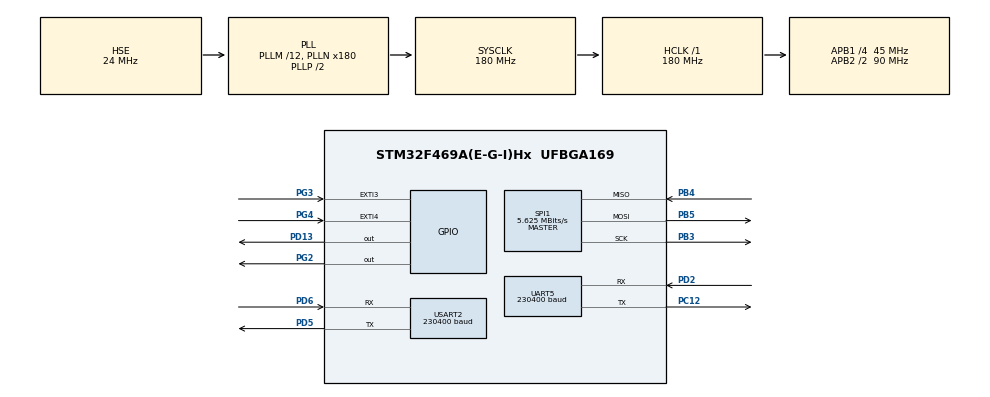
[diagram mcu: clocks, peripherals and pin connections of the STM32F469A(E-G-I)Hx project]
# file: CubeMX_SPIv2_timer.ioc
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Dma.Request0=USART2_RX
Dma.USART2_RX.0.Direction=DMA_PERIPH_TO_MEMORY
Dma.USART2_RX.0.FIFOMode=DMA_FIFOMODE_DISABLE
Dma.USART2_RX.0.Instance=DMA1_Stream5
Dma.USART2_RX.0.MemDataAlignment=DMA_MDATAALIGN_BYTE
Dma.USART2_RX.0.MemInc=DMA_MINC_ENABLE
Dma.USART2_RX.0.Mode=DMA_CIRCULAR
Dma.USART2_RX.0.PeriphDataAlignment=DMA_PDATAALIGN_BYTE
Dma.USART2_RX.0.PeriphInc=DMA_PINC_DISABLE
Dma.USART2_RX.0.Priority=DMA_PRIORITY_LOW
Mcu.Family=STM32F4
Mcu.Name=STM32F469A(E-G-I)Hx
Mcu.Package=UFBGA169
NVIC.DMA1_Stream5_IRQn=true\:0\:0\:false\:false\:true\:false\:true\:true
NVIC.EXTI3_IRQn=true\:0\:0\:false\:false\:true\:true\:true\:true
NVIC.EXTI4_IRQn=true\:0\:0\:false\:false\:true\:true\:true\:true
NVIC.PriorityGroup=NVIC_PRIORITYGROUP_4
NVIC.TIM2_IRQn=true\:0\:0\:false\:false\:true\:true\:true\:true
NVIC.USART2_IRQn=true\:0\:0\:false\:false\:true\:true\:true\:true
PA13.Mode=Serial_Wire
PA13.Signal=SYS_JTMS-SWDIO
PA14.Mode=Serial_Wire
PA14.Signal=SYS_JTCK-SWCLK
PB3.Mode=Full_Duplex_Master
PB3.Signal=SPI1_SCK
PB4.Mode=Full_Duplex_Master
PB4.Signal=SPI1_MISO
PB5.Mode=Full_Duplex_Master
PB5.Signal=SPI1_MOSI
PC12.Mode=Asynchronous
PC12.Signal=UART5_TX
PC14/OSC32_IN.Mode=LSE-External-Oscillator
PC14/OSC32_IN.Signal=RCC_OSC32_IN
PC15/OSC32_OUT.Mode=LSE-External-Oscillator
PC15/OSC32_OUT.Signal=RCC_OSC32_OUT
PD13.Signal=GPIO_Output
PD2.Mode=Asynchronous
PD2.Signal=UART5_RX
PD5.Mode=Asynchronous
PD5.Signal=USART2_TX
PD6.Mode=Asynchronous
PD6.Signal=USART2_RX
PG2.PinState=GPIO_PIN_SET
PG2.Signal=GPIO_Output
PG3.Signal=GPXTI3
PG4.Signal=GPXTI4
PH0/OSC_IN.Mode=HSE-External-Oscillator
PH0/OSC_IN.Signal=RCC_OSC_IN
PH1/OSC_OUT.Mode=HSE-External-Oscillator
PH1/OSC_OUT.Signal=RCC_OSC_OUT
ProjectManager.HeapSize=0x200
ProjectManager.StackSize=0x1000
ProjectManager.TargetToolchain=STM32CubeIDE
RCC.AHBFreq_Value=180000000
RCC.APB1CLKDivider=RCC_HCLK_DIV4
RCC.APB1Freq_Value=45000000
RCC.APB1TimFreq_Value=90000000
RCC.APB2CLKDivider=RCC_HCLK_DIV2
RCC.APB2Freq_Value=90000000
RCC.APB2TimFreq_Value=180000000
RCC.CortexFreq_Value=180000000
RCC.HCLKFreq_Value=180000000
RCC.HSE_VALUE=24000000
RCC.PLLM=12
RCC.PLLN=180
RCC.PLLSourceVirtual=RCC_PLLSOURCE_HSE
RCC.SYSCLKFreq_VALUE=180000000
RCC.SYSCLKSource=RCC_SYSCLKSOURCE_PLLCLK
RCC.USBFreq_Value=90000000
RCC.VCOOutputFreq_Value=360000000
SPI1.BaudRatePrescaler=SPI_BAUDRATEPRESCALER_16
SPI1.CalculateBaudRate=5.625 MBits/s
SPI1.Direction=SPI_DIRECTION_2LINES
SPI1.Mode=SPI_MODE_MASTER
SPI1.VirtualType=VM_MASTER
STMicroelectronics.X-CUBE-AI.6.0.0.ActivationBufferSizeList=236
STMicroelectronics.X-CUBE-AI.6.0.0.HeapSize=0x200
STMicroelectronics.X-CUBE-AI.6.0.0.InternalRamActivationBufferMaxSize=AI_NETWORK_DATA_ACTIVATIONS_SIZE
STMicroelectronics.X-CUBE-AI.6.0.0.LatestDirectoryUsed-4ceb5bedb8e4060084cdc51f1587b4875811ca90b4fdf86550945789fb7fff70=C\:\\Users\\giaco\\Downloads
STMicroelectronics.X-CUBE-AI.6.0.0.MaximumNumberOfInputLayer=1
STMicroelectronics.X-CUBE-AI.6.0.0.MaximumNumberOfOutputLayer=1
STMicroelectronics.X-CUBE-AI.6.0.0.MaximumSizeOfInputLayer=AI_NETWORK_IN_1_SIZE_BYTES
STMicroelectronics.X-CUBE-AI.6.0.0.MaximumSizeOfOutputLayer=AI_NETWORK_OUT_1_SIZE_BYTES
STMicroelectronics.X-CUBE-AI.6.0.0.ModelActualCompression-4ceb5bedb8e4060084cdc51f1587b4875811ca90b4fdf86550945789fb7fff70=0.0
STMicroelectronics.X-CUBE-AI.6.0.0.ModelCompression-4ceb5bedb8e4060084cdc51f1587b4875811ca90b4fdf86550945789fb7fff70=1
STMicroelectronics.X-CUBE-AI.6.0.0.ModelFlashOccupation-4ceb5bedb8e4060084cdc51f1587b4875811ca90b4fdf86550945789fb7fff70=6212
STMicroelectronics.X-CUBE-AI.6.0.0.ModelHashList=4ceb5bedb8e4060084cdc51f1587b4875811ca90b4fdf86550945789fb7fff70
STMicroelectronics.X-CUBE-AI.6.0.0.ModelKind-4ceb5bedb8e4060084cdc51f1587b4875811ca90b4fdf86550945789fb7fff70=TFLITE
STMicroelectronics.X-CUBE-AI.6.0.0.ModelMacc-4ceb5bedb8e4060084cdc51f1587b4875811ca90b4fdf86550945789fb7fff70=1673
STMicroelectronics.X-CUBE-AI.6.0.0.ModelName-4ceb5bedb8e4060084cdc51f1587b4875811ca90b4fdf86550945789fb7fff70=network
STMicroelectronics.X-CUBE-AI.6.0.0.ModelNameList=network
STMicroelectronics.X-CUBE-AI.6.0.0.ModelRamOccupation-4ceb5bedb8e4060084cdc51f1587b4875811ca90b4fdf86550945789fb7fff70=236
STMicroelectronics.X-CUBE-AI.6.0.0.ModelStructureFile-4ceb5bedb8e4060084cdc51f1587b4875811ca90b4fdf86550945789fb7fff70=C\:\\Users\\giaco\\Downloads\\my_model.tflite
STMicroelectronics.X-CUBE-AI.6.0.0.ModelType-4ceb5bedb8e4060084cdc51f1587b4875811ca90b4fdf86550945789fb7fff70=Saved model
STMicroelectronics.X-CUBE-AI.6.0.0.StackSize=0x1000
STMicroelectronics.X-CUBE-AI.6.0.0.WorkingBufferStartAddrList=0xFFFFFFFF
STMicroelectronics.X-CUBE-AI.6.0.0.XAaCUBEAaAICcArtificialOoIntelligenceJjCore=true
STMicroelectronics.X-CUBE-ALGOBUILD.1.3.0.LibraryCcDSPOoLibraryJjDSPOoLibrary=true
TIM2.Period=9000-1
TIM2.Prescaler=0
UART5.BaudRate=230400
UART5.VirtualMode=Asynchronous
USART2.BaudRate=230400
USART2.Parity=PARITY_NONE
USART2.VirtualMode=VM_ASYNC
VP_CRC_VS_CRC.Mode=CRC_Activate
VP_STMicroelectronics.X-CUBE-AI_VS_ArtificialOoIntelligenceJjXAaCUBEAaAI_6.0.0.Mode=ArtificialOoIntelligenceJjXAaCUBEAaAI
VP_STMicroelectronics.X-CUBE-ALGOBUILD_VS_DSPOoLibraryJjLibrary_1.3.0_1.3.0.Mode=DSPOoLibraryJjLibrary
VP_TIM2_VS_ClockSourceINT.Mode=Internal
board=custom

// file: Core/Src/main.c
/* USER CODE BEGIN Header */
/**
  ******************************************************************************
  * @file           : main.c
  * @brief          : Main program body
  ******************************************************************************
  * @attention
  *
  * Copyright (c) 2022 STMicroelectronics.
  * All rights reserved.
  *
  * This software is licensed under terms that can be found in the LICENSE file
  * in the root directory of this software component.
  * If no LICENSE file comes with this software, it is provided AS-IS.
  *
  ******************************************************************************
  */

/* USER CODE END Header */

#define ARM_MATH_CM4
#include "main.h"
#include "crc.h"
#include "dma.h"
#include "spi.h"
#include "tim.h"
#include "usart.h"
#include "gpio.h"
#include "arm_math.h"
#include "network.h"
#include "network_data.h"
#include "ai_datatypes_defines.h"

/* USER CODE BEGIN PD */

#define DIM 5000			//Aumento la scalabilità del codice utilizzando questa macro
#define N 5

/* USER CODE END PD */

/* USER CODE BEGIN PV */

uint16_t buffer[50]={0};	//Buffer usato per UART5
uint16_t buffer2[300];		//Buffer usato per UART5

//Ho creato una funzione che mi semplifica la scrittura sulla COM di messaggi
void uprintf(char* str){
	HAL_UART_Transmit(&huart5, (uint8_t*)str, strlen(str), 100);
}

//Funzioni di stampa
void printAmpFreq(float32_t a[N],float32_t b[N],float32_t c[N],float32_t d[N],float32_t e[N],float32_t f[N]){

	for(int j=0;j<N;j++){
			   for(int k=0;k<6;k++){
			   		   if(k==0){
			   		   sprintf(buffer2,"%f",a[j]);
			   		   uprintf(buffer2);
			   		   }
			   		   else if(k==1){
			   		   sprintf(buffer2,"%f",b[j]);
			   		   uprintf(buffer2);
			   		   }
			   		   else if(k==2){
			   		   sprintf(buffer2,"%f",c[j]);
			   		   uprintf(buffer2);
			   		   }
			   		   else if(k==3){
	     	           sprintf(buffer2,"%f",d[j]);
	     	           uprintf(buffer2);
			   		   }
			   		   else if(k==4){
			   		   sprintf(buffer2,"%f",e[j]);
			   		   uprintf(buffer2);
			   		   }
			   		   else if(k==5){
			   		   sprintf(buffer2,"%f",f[j]);
			   		   uprintf(buffer2);
			   		   }
			   		   if(k!=5){
			   		   sprintf(buffer2,"\t");
			   		   uprintf(buffer2);
			   		   }
			   	   }
			   	   sprintf(buffer2,"\n \r");
			   	   uprintf(buffer2);
			      }

}
void printAcc(float a[DIM],float b[DIM],float c[DIM]){

	for(int j=0;j<DIM;j++){
		   for(int k=0;k<3;k++){
			   if(k==0){
			   sprintf(buffer2,"%f",a[j]);
			   uprintf(buffer2);
			   }
			   else if(k==1){
			   sprintf(buffer2,"%f",b[j]);
			   uprintf(buffer2);
			   }
			   else if(k==2){
			   sprintf(buffer2,"%f",c[j]);
			   uprintf(buffer2);
			   }
			   sprintf(buffer2,"\t");
			   uprintf(buffer2);
		   }
		   sprintf(buffer2,"\n \r");
		   uprintf(buffer2);
	   }
	   }

const int SAMPLES = 8192;
const int FFT_SIZE = 4096;
const float Fs = 5000;
const float passo_f = (Fs/2)/(FFT_SIZE/2);
float32_t fft_in_buf[8192]; //Buffer di input della FFT
float32_t fft_out_buf[4096]; //Vettore di output della FFT
float32_t temp[2048];  //Vettori e variabili usate per trovare i valori massimi
float32_t valMassimiX[N];
float32_t valMassimiY[N];
float32_t valMassimiZ[N];
float32_t indX[N];
float32_t indY[N];
float32_t indZ[N];
float32_t massimo;
float32_t matriceInput[N][6];
int indmax;
uint8_t spiSndX[1];			//Buffer di trasmissione X MSB
uint8_t spiSndY[1];			//Buffer di trasmissione Y MSB
uint8_t spiSndZ[1];			//Buffer di trasmissione Z MSB
uint8_t spiSndXLSB[1];		//Buffer di trasmissione X LSB
uint8_t spiSndYLSB[1];		//Buffer di trasmissione Y LSB
uint8_t spiSndZLSB[1];		//Buffer di trasmissione Z LSB
uint8_t spiRcv[2];			//Buffer di ricezione LSB
uint8_t spiRcvMSB[2];		//Buffer di ricezione MSB
uint8_t spiSnd[2];			//Buffer invio comandi SPI
uint8_t a;					//Variabile di appoggio usata per snprintf (si può eliminare se non la si usa)
float Vettx[DIM];			//Vettore float (con virgola) della misura Accelerazione Asse X
float Vetty[DIM];			//Vettore float (con virgola) della misura Accelerazione Asse Y
float Vettz[DIM];			//Vettore float (con virgola) della misura Accelerazione Asse Z
volatile uint8_t flag_elapsed = 0;	//Flag proveniente dall'interrupt function del timer (si alza dopo i 2250-1 conteggi settati)

/* USER CODE END PV */

void SystemClock_Config(void);

int main(void)
{
  /* USER CODE BEGIN 1 */
	spiSndX[0]=0x29|0x80;			//Indirizzo Lettura X MSB
    spiSndY[0]=0x2B|0x80;			//Indirizzo Lettura Y MSB
	spiSndZ[0]=0x2D|0x80;			//Indirizzo Lettura Z MSB
	spiSndXLSB[0]=0x28|0x80;		//Indirizzo Lettura X LSB
	spiSndYLSB[0]=0x2A|0x80;		//Indirizzo Lettura Y LSB
	spiSndZLSB[0]=0x2C|0x80;		//Indirizzo Lettura Z LSB
	uint16_t x[DIM];				//Vettore intero 16bit misura Accelerazione Asse X
	uint16_t y[DIM];				//Vettore intero 16bit misura Accelerazione Asse Y
	uint16_t z[DIM];				//Vettore intero 16bit misura Accelerazione Asse Z
	int16_t k=0;					//Variabile usata per il casting
	float acc;						//Accelerazione istantanea ad asse
	float typ=0.244;
	int i=0;						//Variabile di appoggio while
  /* USER CODE END 1 */

  /* MCU Configuration--------------------------------------------------------*/

  /* Reset of all peripherals, Initializes the Flash interface and the Systick. */
  HAL_Init();

  /* Configure the system clock */
  SystemClock_Config();

  /* Initialize all configured peripherals */
  MX_GPIO_Init();
  MX_DMA_Init();
  MX_SPI1_Init();
  MX_USART2_UART_Init();
  MX_UART5_Init();
  MX_TIM2_Init();
  MX_CRC_Init();
  /* USER CODE BEGIN 2 */
    HAL_UART_MspInit(&huart5);			//Inizializzo UART5

    //Messaggio di Boot COM
    //uprintf("/******  Misuratore Assiale di Accelerazione  ******/ \n \r");
    //uprintf("/****   Programma Realizzato da Salvatore Granata    ****/ \n \r");
    //uprintf("/****   Ingegneria dell'Automazione   ****/ \n \r");
    //uprintf("Sensore Avviato e pronto per misure \n \r");

   /*1. Abilito lo slave portando la linea CS/SS Bassa*/
    HAL_GPIO_WritePin(GPIOG, GPIO_PIN_2, GPIO_PIN_RESET);	   /*1. Abilita lo Slave settando CS Basso lo stato dell'IIS3DWB */

   /*2. Trasmetto indirizzo registro e dati */
    spiSnd[0]=0x10;												//Indirizzo Registro CTRL1_XL (Abilita l'accelerometro)
    spiSnd[1]=0xAC;												//Scrivo 101 all'inizio del registro per abilitarlo e poi tutti zero (accelerometro scala +-2g)
    HAL_SPI_Transmit(&hspi1, spiSnd, 2, 100);					//Invio messaggio allo slave per effettuare l'abilitazione abilitazione

   /*3. Disabilito lo slave portando la linea CS/SS Alta*/		//Inviata l'istruzione di abilitazione dell'accelerometro,
    HAL_GPIO_WritePin(GPIOG, GPIO_PIN_2, GPIO_PIN_SET);			//Chiudo la comunicazione

    HAL_TIM_Base_Start(&htim2);									//Faccio partire il timer
  /* USER CODE END 2 */

  /* Infinite loop */
  /* USER CODE BEGIN WHILE */

  while (i<DIM)
  {
	 if((flag_elapsed)=1)											//La funzione di interrupt abilita il flag per ogni n conteggi selezionati
	 {
		 flag_elapsed=0;										//flag=0 in modo che non rientro ma aspetto che sia l'interrupt ad alzarlo

		//Asse X
		HAL_GPIO_WritePin(GPIOG, GPIO_PIN_2, GPIO_PIN_RESET);	//Abilito SPI1
		HAL_SPI_Transmit(&hspi1, spiSndX, 1, 100);				//Trasmetto Indirizzo dove leggere istruzione
		HAL_SPI_Receive(&hspi1, &spiRcv[0], 1, 100);			//Ricevo Risultato di misura MSB (8bit)
		HAL_GPIO_WritePin(GPIOG, GPIO_PIN_2, GPIO_PIN_SET);		//Chiudo la comunicazione SPI1
		HAL_GPIO_WritePin(GPIOG, GPIO_PIN_2, GPIO_PIN_RESET);	//Abilito la comunicazione SPI1 (NON POSSO FARE PIU OPERAZIONI CON UN'UNICA ATTIVAZIONE)
		HAL_SPI_Transmit(&hspi1, spiSndXLSB, 1, 100);			//Trasmetto Indirizzo dove leggere istruzione
		HAL_SPI_Receive(&hspi1, &spiRcv[1], 1, 100);			//Ricevo Risultato di misura LSB (8bit)
		x[i]=((int16_t)spiRcv[0] << 8) | spiRcv[1];				//Unisco MSB e LSB attraverso un'operazione di shift su 16bit
		HAL_GPIO_WritePin(GPIOG, GPIO_PIN_2, GPIO_PIN_SET);		//Chiudo la comunicazione SPI1
		k=(int16_t)x[i];										//Casting da uint a int (abilitazione del segno, complemento)
		acc=(k*typ)/1000;										//Da datasheet, il dato letto, lo converto in scala g attraverso questo calcolo
		Vettx[i]=acc;											//Aggiungo la misura al vettore delle letture
		//HAL_UART_Transmit(&huart5,(uint8_t*)"\n \r", 3, HAL_MAX_DELAY);			//Vado da capo

		spiRcv[0]=0;
		spiRcv[1]=0;
		//Asse Y
		HAL_GPIO_WritePin(GPIOG, GPIO_PIN_2, GPIO_PIN_RESET);	//Abilito SPI1
		HAL_SPI_Transmit(&hspi1, spiSndY, 1, 100);				//Trasmetto Indirizzo dove leggere istruzione
		HAL_SPI_Receive(&hspi1, &spiRcv[0], 1, 100);			//Ricevo Risultato di misura MSB (8bit)
		HAL_GPIO_WritePin(GPIOG, GPIO_PIN_2, GPIO_PIN_SET);		//Chiudo la comunicazione SPI1
		HAL_GPIO_WritePin(GPIOG, GPIO_PIN_2, GPIO_PIN_RESET);	//Abilito la comunicazione SPI1 (NON POSSO FARE PIU OPERAZIONI CON UN'UNICA ATTIVAZIONE)
		HAL_SPI_Transmit(&hspi1, spiSndYLSB, 1, 100);			//Trasmetto Indirizzo dove leggere istruzione
		HAL_SPI_Receive(&hspi1, &spiRcv[1], 1, 100);			//Ricevo Risultato di misura LSB (8bit)
		y[i]=((int16_t)spiRcv[0] << 8) | spiRcv[1];				//Unisco MSB e LSB attraverso un'operazione di shift su 16bit
		HAL_GPIO_WritePin(GPIOG, GPIO_PIN_2, GPIO_PIN_SET);		//Chiudo la comunicazione SPI1
		k=(int16_t)y[i];										//Casting da uint a int (abilitazione del segno, complemento)
		acc=(k*typ)/1000;										//Da datasheet, il dato letto, lo converto in scala g attraverso questo calcolo
		Vetty[i]=acc;											//Aggiungo la misura al vettore delle letture
		//HAL_UART_Transmit(&huart5,(uint8_t*)"\n \r", 3, HAL_MAX_DELAY);			//Vado da capo

		spiRcv[0]=0;
		spiRcv[1]=0;
		//Asse Z												//Si ripetono gli stessi commenti
		HAL_GPIO_WritePin(GPIOG, GPIO_PIN_2, GPIO_PIN_RESET);
		HAL_SPI_Transmit(&hspi1, spiSndZ, 1, 100);
		HAL_SPI_Receive(&hspi1, &spiRcv[0], 1, 100);
		HAL_GPIO_WritePin(GPIOG, GPIO_PIN_2, GPIO_PIN_SET);
		HAL_GPIO_WritePin(GPIOG, GPIO_PIN_2, GPIO_PIN_RESET);
		HAL_SPI_Transmit(&hspi1, spiSndZLSB, 1, 100);
		HAL_SPI_Receive(&hspi1, &spiRcv[1], 1, 100);
		z[i]=((int16_t)spiRcv[0] << 8) | spiRcv[1];
		HAL_GPIO_WritePin(GPIOG, GPIO_PIN_2, GPIO_PIN_SET);
		k=(int16_t)z[i];
		acc=(k*typ)/1000;
		Vettz[i]=acc;
		//HAL_UART_Transmit(&huart5,(uint8_t*)"\n \r", 3, HAL_MAX_DELAY);			//Vado da capo

	    i=i+1;															//Incremento la i per spostare le misure nel buffer
	  }
  }
    /* USER CODE END WHILE */

    /* USER CODE BEGIN 3 */
   HAL_TIM_Base_Stop(&htim2);											//Completate le n=DIM misure, fermo il timer
   HAL_UART_Transmit(&huart5,(uint8_t*)"\n \r", 3, HAL_MAX_DELAY);		//Trasmetto uno spazio per ordine
   i=0;

   //Stampo le misure di accelerazione
   //printAcc(Vettx,Vetty,Vettz);

   //Eseguo la FFT

   arm_cfft_radix2_instance_f32 S;
   /* Inizializzo il modulo CFFT/CIFFT, intFlag = 0, doBitReverse = 1 */
   arm_cfft_radix2_init_f32(&S, FFT_SIZE, 0, 1);

   //Asse X
   for(int j=0;j<SAMPLES;j+=2){
	   fft_in_buf[j] = ((float32_t)((float32_t)Vettx[j/2]));
	   fft_in_buf[j+1] = 0;
   }
   /*Processo i dati attraverso il modulo CFFT/CIFFT */
   arm_cfft_radix2_f32(&S, fft_in_buf);
   /*Processo i dati attraverso il modulo Complex Magnitude*/
   arm_cmplx_mag_f32(fft_in_buf, fft_out_buf, FFT_SIZE);

   //Prendo le N componenti frequenziali ad ampiezza maggiore dello spettro di X

      for(int j = 0; j<((FFT_SIZE/2));j++){
          temp[j] = (float32_t)fft_out_buf[j+1];
        }
      for(int j=0; j<N;j++){
   	   arm_max_f32(temp, FFT_SIZE/2, &massimo, &indmax);
   	   valMassimiX[j] = 2*massimo;
   	   indX[j] = (float)(indmax)*passo_f;
   	   temp[indmax] = 0;
     }

   //Asse Y
   for(int j=0;j<SAMPLES;j+=2){
  	   fft_in_buf[j] = ((float32_t)((float32_t)Vetty[j/2]));
  	   fft_in_buf[j+1] = 0;
     }
   /*Processo i dati attraverso il modulo CFFT/CIFFT */
   arm_cfft_radix2_f32(&S, fft_in_buf);
   /* Processo i dati attraverso il modulo Complex Magnitude*/
   arm_cmplx_mag_f32(fft_in_buf, fft_out_buf, FFT_SIZE);

   //Prendo le N componenti frequenziali ad ampiezza maggiore dello spettro di Y

      for(int j = 0; j<((FFT_SIZE/2));j++){
          temp[j] = (float32_t)fft_out_buf[j+1];
        }
         for(int j=0; j<N;j++){
      	   arm_max_f32(temp, FFT_SIZE/2, &massimo, &indmax);
      	   valMassimiY[j] = 2*massimo;
      	   indY[j] = (float)(indmax*passo_f);
      	   temp[indmax] = 0;
        }

   //Asse Z
   for(int j=0;j<SAMPLES;j+=2){
       fft_in_buf[j] = ((float32_t)((float32_t)Vettz[j/2]));
       fft_in_buf[j+1] = 0;
     }
   /*Processo i dati attraverso il modulo CFFT/CIFFT */
   arm_cfft_radix2_f32(&S, fft_in_buf);
   /* Processo i dati attraverso il modulo Complex Magnitude*/
   arm_cmplx_mag_f32(fft_in_buf, fft_out_buf, FFT_SIZE);

   //Prendo le N componenti frequenziali ad ampiezza maggiore dello spettro di Z

   for(int j = 0; j<((FFT_SIZE/2));j++){
       temp[j] = (float32_t)fft_out_buf[j+1];
     }
      for(int j=0; j<N;j++){
   	   arm_max_f32(temp, FFT_SIZE/2, &massimo, &indmax);
   	   valMassimiZ[j] = 2*massimo;
   	   indZ[j] = (float)(indmax*passo_f);
   	   temp[indmax] = 0;
     }

   //Stampo le coppie ampiezza-frequenza sui 3 assi

    printAmpFreq(valMassimiX,indX,valMassimiY,indY,valMassimiZ,indZ);

    //Preparo la matrice con gli input da dare al mio NN(riempio la matrice per colonne)

    //Preparo la matrice con gli input da dare al mio NN(riempio la matrice per colonne)

      for(int j=0;j<AI_NETWORK_IN_1_SIZE;j++){

    	  for(int k=0;k<N;k++){

    		  if(j==0)
    			  matriceInput[k][j] = (float32_t)valMassimiX[k];
    		  if(j==1)
    			  matriceInput[k][j] = (float32_t)indX[k];
    		  if(j==2)
    			  matriceInput[k][j] = (float32_t)valMassimiY[k];
    		  if(j==3)
    			  matriceInput[k][j] = (float32_t)indY[k];
    		  if(j==4)
    			  matriceInput[k][j] = (float32_t)valMassimiZ[k];
    		  if(j==5)
    			  matriceInput[k][j] = (float32_t)indZ[k];
    	  }
      }

      // Chunk of memory used to hold intermediate values for neural network

        	AI_ALIGNED(4) ai_u8 activations[AI_NETWORK_DATA_ACTIVATIONS_SIZE];
          ai_i32 inferenza;

        // Buffer per memorizzare i tensori di input e di output

        	AI_ALIGNED(4) ai_i8 in_data[AI_NETWORK_IN_1_SIZE_BYTES];
          AI_ALIGNED(4) ai_i8 out_data[AI_NETWORK_OUT_1_SIZE_BYTES];

          //Puntatore al modello

          ai_handle network = AI_HANDLE_NULL;

          //Inizializzo le struct che conterranno i puntatori ai dati

              ai_buffer ai_input[AI_NETWORK_IN_NUM] = AI_NETWORK_IN;
              ai_buffer ai_output[AI_NETWORK_OUT_NUM] = AI_NETWORK_OUT;

              //Ricavo i pesi e i bias del modello

                 ai_network_params ai_params = {
                 AI_NETWORK_DATA_WEIGHTS(ai_network_data_weights_get()),
                 AI_NETWORK_DATA_ACTIVATIONS(activations)
               };

               //Setto le struct

                 ai_input[0].n_batches = 1;
                 ai_input[0].data = AI_HANDLE_PTR(in_data);
                 ai_output[0].n_batches = 1;
                 ai_output[0].data = AI_HANDLE_PTR(out_data);

                 //Creo un'istanza del NN

                      ai_error ai_err;
                      ai_err = ai_network_create(&network, AI_NETWORK_DATA_CONFIG);
                      if (ai_err.type != AI_ERROR_NONE)
                      {
                     	 sprintf(buffer2,"Errore");
                     	 uprintf(buffer2);

                      }

                      //Verifico che il NN sia inizializzato correttamente

                      if (!ai_network_init(network, &ai_params))
                      {
                     	 sprintf(buffer2,"Errore");
                     	 uprintf(buffer2);

                      }
                      //Riempio il buffer di input

                          	 for (uint32_t i = 0; i < AI_NETWORK_IN_1_SIZE; i++)
                              {
                                ((ai_float *)in_data)[i] = (ai_float)matriceInput[2][i];
                                //sprintf(buffer2,"%f \n \r",((ai_float*)in_data)[i]);
                                //uprintf(buffer2);
                              }

                          	//Eseguo l'inferenza

                          	             inferenza = ai_network_run(network, &ai_input[0], &ai_output[0]);
                          	             if (inferenza != 1) {

                          	            	 sprintf(buffer2,"Errore");
                          	            	 uprintf(buffer2);

                          	             }

                          	             //Visualizzo il risultato dell'inferenza

                          	             float y_val;
                          	             for(int j=0;j<3;j++){
                          	             y_val = ((float *)out_data)[j];
                          	             sprintf(buffer2,"%f \n \r",y_val);
                          	             uprintf(buffer2);
                          	             }

    //Fine main

  }

  /* USER CODE END 3 */

void SystemClock_Config(void)
{
  RCC_OscInitTypeDef RCC_OscInitStruct = {0};
  RCC_ClkInitTypeDef RCC_ClkInitStruct = {0};

  /** Configure the main internal regulator output voltage
  */
  __HAL_RCC_PWR_CLK_ENABLE();
  __HAL_PWR_VOLTAGESCALING_CONFIG(PWR_REGULATOR_VOLTAGE_SCALE1);

  /** Initializes the RCC Oscillators according to the specified parameters
  * in the RCC_OscInitTypeDef structure.
  */
  RCC_OscInitStruct.OscillatorType = RCC_OSCILLATORTYPE_HSE;
  RCC_OscInitStruct.HSEState = RCC_HSE_ON;
  RCC_OscInitStruct.PLL.PLLState = RCC_PLL_ON;
  RCC_OscInitStruct.PLL.PLLSource = RCC_PLLSOURCE_HSE;
  RCC_OscInitStruct.PLL.PLLM = 12;
  RCC_OscInitStruct.PLL.PLLN = 180;
  RCC_OscInitStruct.PLL.PLLP = RCC_PLLP_DIV2;
  RCC_OscInitStruct.PLL.PLLQ = 4;
  RCC_OscInitStruct.PLL.PLLR = 2;
  if (HAL_RCC_OscConfig(&RCC_OscInitStruct) != HAL_OK)
  {
    Error_Handler();
  }

  /** Activate the Over-Drive mode
  */
  if (HAL_PWREx_EnableOverDrive() != HAL_OK)
  {
    Error_Handler();
  }

  /** Initializes the CPU, AHB and APB buses clocks
  */
  RCC_ClkInitStruct.ClockType = RCC_CLOCKTYPE_HCLK|RCC_CLOCKTYPE_SYSCLK
                              |RCC_CLOCKTYPE_PCLK1|RCC_CLOCKTYPE_PCLK2;
  RCC_ClkInitStruct.SYSCLKSource = RCC_SYSCLKSOURCE_PLLCLK;
  RCC_ClkInitStruct.AHBCLKDivider = RCC_SYSCLK_DIV1;
  RCC_ClkInitStruct.APB1CLKDivider = RCC_HCLK_DIV4;
  RCC_ClkInitStruct.APB2CLKDivider = RCC_HCLK_DIV2;

  if (HAL_RCC_ClockConfig(&RCC_ClkInitStruct, FLASH_LATENCY_5) != HAL_OK)
  {
    Error_Handler();
  }
}

void Error_Handler(void)
{
  __disable_irq();
  while (1)
  {
  }
}
